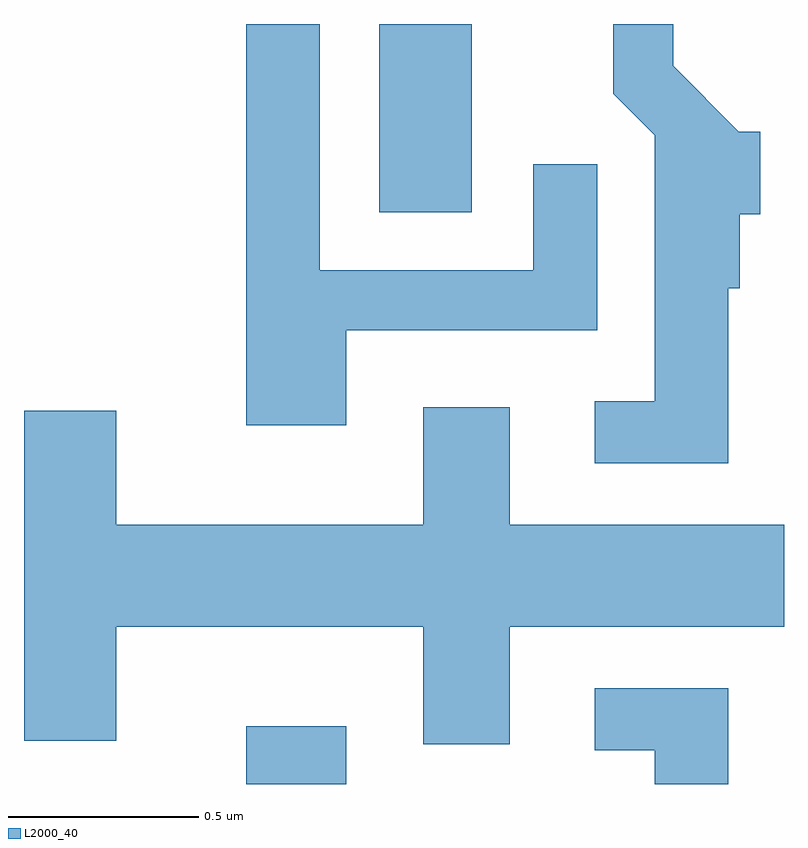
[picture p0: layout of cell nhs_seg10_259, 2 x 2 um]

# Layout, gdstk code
import gdstk
lib = gdstk.Library(unit=1e-6, precision=1e-09)
def R(c, l, rs):  # rectangles x0, y0, x1, y1
    for r in rs: c.add(gdstk.rectangle(r[:2], r[2:], *l))
def P(c, l, *ps):  # polygons
    for p in ps: c.add(gdstk.Polygon(p, *l))
L2000_40 = (2000, 40)

nhs_seg10_259 = lib.new_cell('nhs_seg10_259')
R(nhs_seg10_259, L2000_40, [(187.196,2204.522,187.459,2204.674), (187.546,2206.026,187.789,2206.522)])
P(nhs_seg10_259, L2000_40, [(188.464,2205.826),(188.494,2205.826),(188.494,2206.021),(188.549,2206.021),(188.549,2206.239),(188.492,2206.239),(188.319,2206.412),(188.319,2206.522),(188.161,2206.522),(188.161,2206.339),(188.271,2206.229),(188.271,2205.529),(188.113,2205.529),(188.113,2205.366),(188.464,2205.366)],
  [(187.459,2205.716),(188.119,2205.716),(188.119,2206.153),(187.951,2206.153),(187.951,2205.874),(187.389,2205.874),(187.389,2206.522),(187.196,2206.522),(187.196,2205.466),(187.459,2205.466)],
  [(187.889,2204.936),(188.611,2204.936),(188.611,2205.204),(187.889,2205.204),(187.889,2205.514),(187.661,2205.514),(187.661,2205.204),(186.854,2205.204),(186.854,2205.504),(186.611,2205.504),(186.611,2204.636),(186.854,2204.636),(186.854,2204.936),(187.661,2204.936),(187.661,2204.626),(187.889,2204.626)],
  [(188.464,2204.774),(188.113,2204.774),(188.113,2204.611),(188.271,2204.611),(188.271,2204.522),(188.464,2204.522)])

lib.write_gds('nhs_seg10_259.gds')
